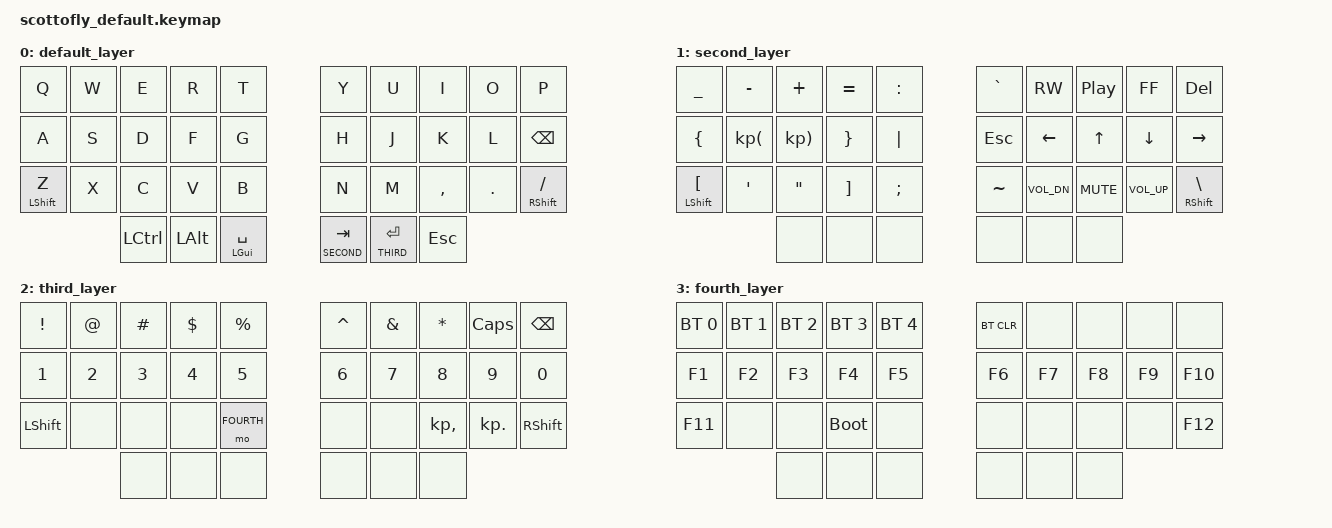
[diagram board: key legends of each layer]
#include <behaviors.dtsi>
#include <dt-bindings/zmk/keys.h>
#include <dt-bindings/zmk/bt.h>

#define DEFAULT 0
#define SECOND  1
#define THIRD   2
#define FOURTH  3

/ {
    keymap {
        compatible = "zmk,keymap";

        default_layer {
// --------------------------------------------------------------------------------------------------------------------------------------------------------------------
// |    Q    |    W    |    E    |    R    |    T    |          |    Y    |    U    |    I    |    O    |    P    |
// |    A    |    S    |    D    |    F    |    G    |          |    H    |    J    |    K    |    L    |   bspc  |
// | shift(Z)|    X    |    C    |    V    |    B    |          |    N    |    M    |    ,    |    .    | shift(/)|
//                     |   CTRL  |   AlT   | gui(spc)|          |2nd(TAB) |3rd(ENT) |   ESC   |
            bindings = <
            &kp Q       &kp W   &kp E       &kp R       &kp T               &kp Y   &kp U   &kp I     &kp O   &kp P   
            &kp A       &kp S   &kp D       &kp F       &kp G               &kp H   &kp J   &kp K     &kp L   &kp BSPC
            &mt LSHFT Z   &kp X   &kp C       &kp V      &kp B               &kp N   &kp M   &kp COMMA &kp DOT &mt RSHFT FSLH
                                &kp LCTRL    &kp LALT    &mt LGUI SPACE    &lt SECOND TAB  &lt THIRD ENTER  &kp ESC
            >;

        };
        second_layer {
// --------------------------------------------------------------------------------------------------------------------------------------------------------------------
// |    _    |    -    |    +    |    =    |    :    |          |    `    |Media Rwd|Play/Paus|Media FF |   DEL   |
// |    {    |    (    |    )    |    }    |    |    |          |    ESC  |    ⬅   |    ⬆    |    ⬇    |    ⮕   |
// |shift([) |    '    |    "    |    ]    |    ;    |          |    ~    | Vol Down|   Mute  |  Vol Up | shift(\)|
//                     |  _____  |  _____  |  _____  |          |  _____  |  _____  |  _____  |
            bindings = <
            &kp UNDER           &kp MINUS       &kp PLUS        &kp EQUAL   &kp COLON           &kp GRAVE   &kp C_RW        &kp C_PP    &kp C_FF        &kp DEL   
            &kp LBRC            &kp KP_LPAR     &kp KP_RPAR     &kp RBRC    &kp PIPE            &kp ESC     &kp LEFT        &kp UP      &kp DOWN        &kp RIGHT
            &mt LSHFT LBKT   &kp SQT         &kp DQT         &kp RBKT    &kp SEMI            &kp TILDE   &kp K_VOL_DN    &kp K_MUTE  &kp K_VOL_UP    &mt RSHFT BSLH
                                                &none           &none       &none               &none       &none           &none
            >;

        };
        third_layer {
// --------------------------------------------------------------------------------------------------------------------------------------------------------------------
// |    !    |    @    |    #    |    $    |    %    |          |    ^    |    &    |    *    |   CAPS  |   bspc  |
// |    1    |    2    |    3    |    4    |    5    |          |    6    |    7    |    8    |    9    |    0    |
// |shift([) |  _____  |  _____  |  _____  |  4th lyr|          |  _____  |  _____  |    ,    |    .    | shift(\)|
//                     |  _____  |  _____  |  _____  |          |  _____  |  _____  |  _____  |
            bindings = <
            &kp EXCL     &kp AT     &kp POUND  &kp DLLR     &kp PRCNT           &kp CARET       &kp AMPS    &kp STAR        &kp CAPS        &kp BSPC   
            &kp N1       &kp N2     &kp N3     &kp N4       &kp N5              &kp N6          &kp N7      &kp N8          &kp N9          &kp N0
            &kp LSHFT    &none      &none      &none        &mo FOURTH          &none           &none       &kp KP_COMMA    &kp KP_DOT      &kp RSHFT
                                    &none      &none        &none               &none           &none       &none
            >;

        };
        fourth_layer {
// --------------------------------------------------------------------------------------------------------------------------------------------------------------------
// |   BT 0  |   BT 1  |   BT 2  |   BT 3  |   BT 4  |          |  BT CLR |    &    |    *    |   CAPS  |   bspc  |
// |   F1    |   F2    |   F3    |   F4    |   F5    |          |   F6    |   F7    |   F8    |   F9    |   F0    |
// |   F11   |  _____  |  _____  |  boot   |  _____  |          |  _____  |  _____  |  _____  |  _____  |   F12   |
//                     |  _____  |  _____  |  _____  |          |  _____  |  _____  |  _____  |
            bindings = <
            &bt BT_SEL 0    &bt BT_SEL 1    &bt BT_SEL 2    &bt BT_SEL 3    &bt BT_SEL 4        &bt BT_CLR  &none   &none   &none   &none   
            &kp F1          &kp F2          &kp F3          &kp F4          &kp F5              &kp F6      &kp F7  &kp F8  &kp F9  &kp F10
            &kp F11         &none           &none           &bootloader     &none               &none       &none   &none   &none   &kp F12
                                            &none           &none           &none               &none       &none   &none
            >;

        };
    };
};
